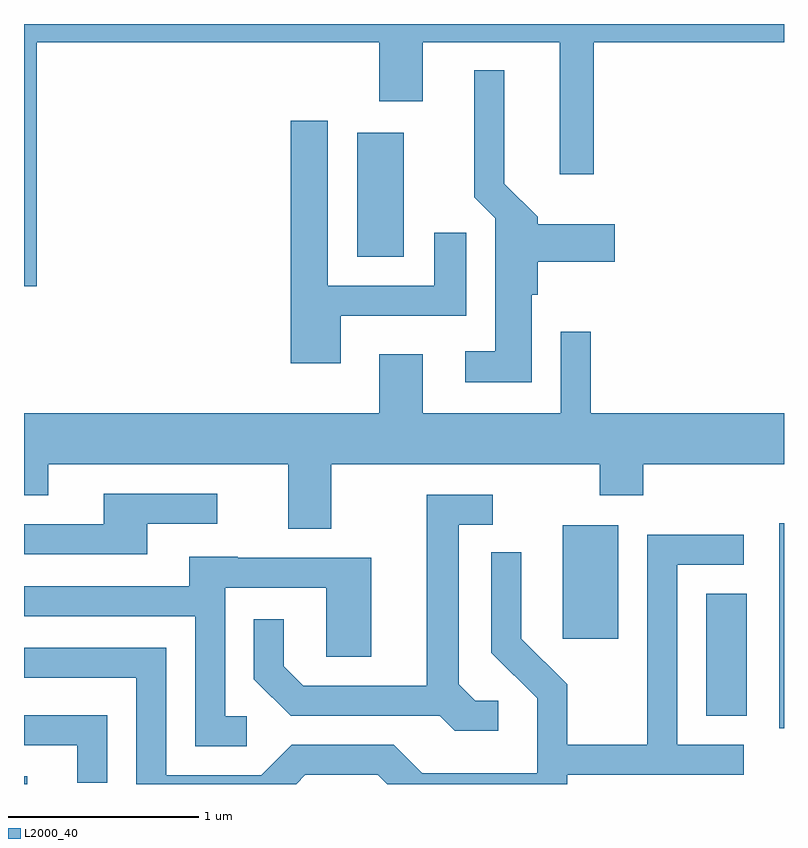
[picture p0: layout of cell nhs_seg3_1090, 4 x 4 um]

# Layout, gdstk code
import gdstk
lib = gdstk.Library(unit=1e-6, precision=1e-09)
def R(c, l, rs):  # rectangles x0, y0, x1, y1
    for r in rs: c.add(gdstk.rectangle(r[:2], r[2:], *l))
def P(c, l, *ps):  # polygons
    for p in ps: c.add(gdstk.Polygon(p, *l))
L2000_40 = (2000, 40)

nhs_seg3_1090 = lib.new_cell('nhs_seg3_1090')
R(nhs_seg3_1090, L2000_40, [(217.611,1119.892,217.629,1119.934), (221.586,1120.186,221.611,1121.264), (221.201,1120.251,221.414,1120.894), (220.446,1120.656,220.739,1121.254), (219.366,1122.666,219.609,1123.319)])
P(nhs_seg3_1090, L2000_40, [(217.679,1123.796),(219.481,1123.796),(219.481,1123.486),(219.709,1123.486),(219.709,1123.796),(220.431,1123.796),(220.431,1123.101),(220.609,1123.101),(220.609,1123.796),(221.611,1123.796),(221.611,1123.892),(217.611,1123.892),(217.611,1122.511),(217.679,1122.511)],
  [(220.284,1122.466),(220.314,1122.466),(220.314,1122.641),(220.719,1122.641),(220.719,1122.839),(220.314,1122.839),(220.314,1122.877),(220.139,1123.052),(220.139,1123.648),(219.981,1123.648),(219.981,1122.979),(220.091,1122.869),(220.091,1122.169),(219.933,1122.169),(219.933,1122.006),(220.284,1122.006)],
  [(219.279,1122.356),(219.939,1122.356),(219.939,1122.793),(219.771,1122.793),(219.771,1122.514),(219.209,1122.514),(219.209,1123.384),(219.016,1123.384),(219.016,1122.106),(219.279,1122.106)],
  [(219.229,1121.576),(220.641,1121.576),(220.641,1121.411),(220.869,1121.411),(220.869,1121.576),(221.611,1121.576),(221.611,1121.844),(220.594,1121.844),(220.594,1122.273),(220.436,1122.273),(220.436,1121.844),(219.709,1121.844),(219.709,1122.154),(219.481,1122.154),(219.481,1121.844),(217.611,1121.844),(217.611,1121.411),(217.739,1121.411),(217.739,1121.576),(219.001,1121.576),(219.001,1121.236),(219.229,1121.236)],
  [(218.259,1121.261),(218.628,1121.261),(218.628,1121.419),(218.031,1121.419),(218.031,1121.259),(217.611,1121.259),(217.611,1121.101),(218.259,1121.101)],
  [(220.108,1120.329),(219.987,1120.329),(219.899,1120.417),(219.899,1121.256),(220.078,1121.256),(220.078,1121.414),(219.731,1121.414),(219.731,1120.409),(219.082,1120.409),(218.979,1120.512),(218.979,1120.758),(218.821,1120.758),(218.821,1120.444),(219.014,1120.251),(219.799,1120.251),(219.879,1120.171),(220.108,1120.171)],
  [(219.092,1119.941),(219.474,1119.941),(219.523,1119.892),(220.469,1119.892),(220.469,1119.941),(221.398,1119.941),(221.398,1120.099),(221.049,1120.099),(221.049,1121.046),(221.398,1121.046),(221.398,1121.204),(220.891,1121.204),(220.891,1120.099),(220.469,1120.099),(220.469,1120.417),(220.229,1120.657),(220.229,1121.113),(220.071,1121.113),(220.071,1120.584),(220.311,1120.344),(220.311,1119.949),(219.707,1119.949),(219.557,1120.099),(219.019,1120.099),(218.859,1119.939),(218.359,1119.939),(218.359,1120.609),(217.611,1120.609),(217.611,1120.451),(218.201,1120.451),(218.201,1119.892),(219.043,1119.892)],
  [(218.783,1120.249),(218.669,1120.249),(218.669,1120.926),(219.201,1120.926),(219.201,1120.561),(219.439,1120.561),(219.439,1121.084),(218.735,1121.084),(218.735,1121.089),(218.481,1121.089),(218.481,1120.934),(217.611,1120.934),(217.611,1120.776),(218.511,1120.776),(218.511,1120.091),(218.783,1120.091)],
  [(218.049,1120.254),(217.611,1120.254),(217.611,1120.096),(217.891,1120.096),(217.891,1119.898),(218.049,1119.898)])

lib.write_gds('nhs_seg3_1090.gds')
